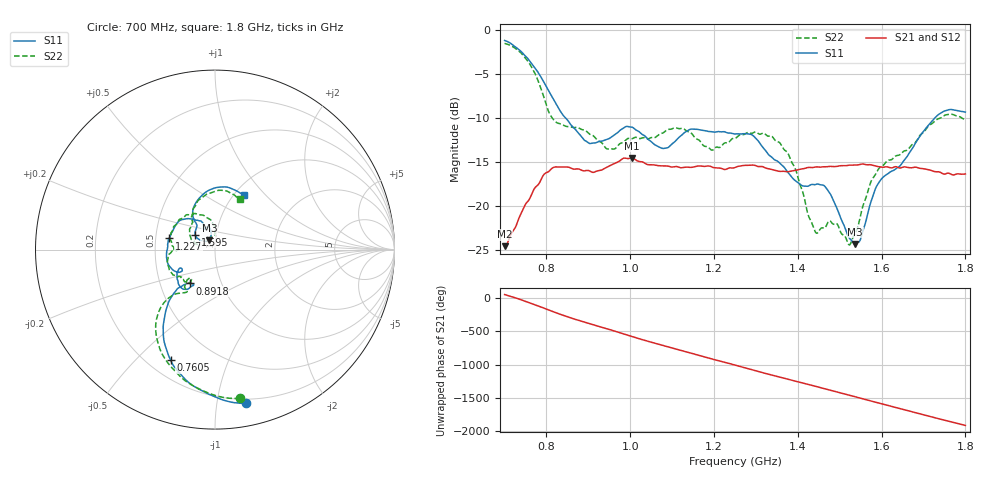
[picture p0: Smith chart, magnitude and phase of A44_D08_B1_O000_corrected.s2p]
! Created with skrf 1.9.0 (http://scikit-rf.org).
# Hz S RI R 50.0
!freq ReS11 ImS11 ReS21 ImS21 ReS12 ImS12 ReS22 ImS22
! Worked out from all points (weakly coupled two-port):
!   1601 points, 700 MHz to 1.8 GHz, reference 50 ohm
!   highest |S21| = -14.51 dB at 1.003 GHz (marker M1); lowest = -24.5 dB at 700.7 MHz (marker M2)
!   lowest |S11| = -24.3 dB at 1.537 GHz (marker M3), VSWR 1.13, Z = 46.8 + j4.94 ohm
!   |S11| at or under -10 dB: 846.2 MHz to 1.727 GHz (880.3 MHz wide, 68.4 % of centre)
!   |S22| runs from -24.4 to -1.5 dB; largest |S21 - S12| = 0.0036
!   S11 on the Smith chart (normalised r, x): 700 MHz: 0.17, -1.21; 760.5 MHz: 0.29, -0.64; 891.8 MHz: 0.71, -0.28; 1.227 GHz: 0.59, +0.08; 1.595 GHz: 0.79, +0.13; 1.8 GHz: 1.11, +0.76
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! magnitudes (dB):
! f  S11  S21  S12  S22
! 700 MHz  -1.2  -24.5  -24.3  -1.5
! 700.7 MHz  -1.2  -24.5  -24.2  -1.5
! 760.5 MHz  -3.6  -19.1  -18.9  -3.9
! 816.2 MHz  -7.8  -15.6  -15.7  -10.1
! 883.6 MHz  -12.1  -15.9  -15.8  -11.3
! 891.8 MHz  -12.5  -16.0  -16.0  -11.4
! 946.8 MHz  -12.4  -15.5  -15.5  -13.5
! 1.003 GHz  -11.0  -14.5  -14.6  -12.3
! 1.067 GHz  -13.2  -15.4  -15.3  -11.9
! 1.145 GHz  -11.2  -15.6  -15.6  -11.6
! 1.227 GHz  -11.6  -15.8  -15.7  -12.8
! 1.25 GHz  -11.8  -15.6  -15.5  -12.3
! 1.357 GHz  -15.1  -16.0  -16.0  -12.8
! 1.394 GHz  -17.1  -15.9  -15.9  -15.7
! 1.434 GHz  -17.5  -15.6  -15.6  -21.9
! 1.47 GHz  -18.1  -15.5  -15.5  -22.0
! 1.522 GHz  -23.6  -15.3  -15.3  -24.4
! 1.537 GHz  -24.3  -15.3  -15.3  -23.1
! 1.595 GHz  -17.2  -15.5  -15.5  -15.6
! 1.617 GHz  -16.2  -15.6  -15.5  -14.8
! 1.735 GHz  -9.6  -16.1  -16.1  -10.1
! 1.8 GHz  -9.3  -16.3  -16.3  -10.1
